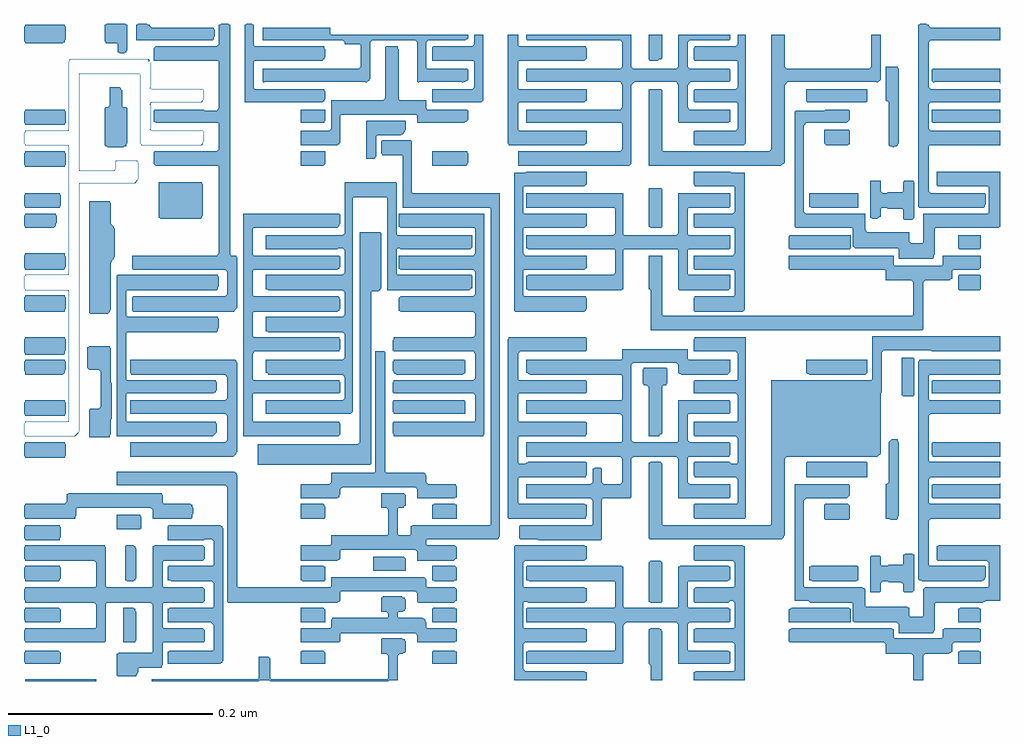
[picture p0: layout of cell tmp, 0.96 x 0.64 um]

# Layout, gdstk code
import gdstk
lib = gdstk.Library(unit=1e-6, precision=1e-09)
def R(c, l, rs):  # rectangles x0, y0, x1, y1
    for r in rs: c.add(gdstk.rectangle(r[:2], r[2:], *l))
def P(c, l, *ps):  # polygons
    for p in ps: c.add(gdstk.Polygon(p, *l))
L1_0 = (1, 0)

tmp = lib.new_cell('tmp')
R(tmp, L1_0, [(1.092,0.74,1.162,0.742)])
P(tmp, L1_0, [(2.008,0.77),(2.007,0.769),(2.006,0.769),(2.006,0.757),(2.028,0.757),(2.028,0.769),(2.027,0.769),(2.026,0.77)],
  [(1.492,0.77),(1.491,0.769),(1.491,0.757),(1.515,0.757),(1.515,0.769),(1.514,0.769),(1.513,0.77)],
  [(1.363,0.77),(1.362,0.769),(1.362,0.757),(1.386,0.757),(1.386,0.768),(1.384,0.77)],
  [(1.092,0.77),(1.092,0.769),(1.091,0.768),(1.091,0.759),(1.092,0.758),(1.092,0.757),(1.126,0.757),(1.126,0.758),(1.127,0.759),(1.127,0.768),(1.125,0.77)],
  [(1.442,0.782),(1.441,0.781),(1.441,0.767),(1.446,0.767),(1.448,0.765),(1.448,0.743),(1.447,0.742),(1.333,0.742),(1.332,0.743),(1.332,0.762),(1.33,0.764),(1.321,0.764),(1.321,0.743),(1.32,0.742),(1.216,0.742),(1.216,0.74),(1.321,0.74),(1.322,0.741),(1.331,0.741),(1.332,0.74),(1.448,0.74),(1.449,0.741),(1.457,0.741),(1.457,0.765),(1.459,0.767),(1.462,0.767),(1.463,0.768),(1.464,0.768),(1.465,0.769),(1.465,0.779),(1.464,0.78),(1.464,0.781),(1.462,0.781),(1.461,0.782)],
  [(1.843,0.792),(1.842,0.791),(1.841,0.791),(1.84,0.79),(1.84,0.779),(1.841,0.778),(1.933,0.778),(1.935,0.776),(1.935,0.767),(1.96,0.767),(1.962,0.765),(1.962,0.741),(1.972,0.741),(1.972,0.765),(1.974,0.767),(1.997,0.767),(1.998,0.768),(1.999,0.768),(2,0.769),(2,0.776),(2.002,0.778),(2.027,0.778),(2.028,0.779),(2.028,0.791),(2.027,0.791),(2.026,0.792),(1.993,0.792),(1.992,0.791),(1.991,0.791),(1.991,0.783),(1.99,0.782),(1.944,0.782),(1.943,0.783),(1.943,0.791),(1.942,0.791),(1.941,0.792)],
  [(1.705,0.792),(1.704,0.791),(1.703,0.791),(1.703,0.757),(1.705,0.755),(1.705,0.741),(1.716,0.741),(1.716,0.789),(1.715,0.79),(1.715,0.791),(1.714,0.791),(1.713,0.792)],
  [(2.008,0.812),(2.007,0.811),(2.006,0.811),(2.006,0.798),(2.028,0.798),(2.028,0.811),(2.027,0.811),(2.026,0.812)],
  [(1.843,0.812),(1.842,0.811),(1.841,0.811),(1.84,0.81),(1.84,0.798),(1.901,0.798),(1.901,0.811),(1.9,0.811),(1.899,0.812)],
  [(1.492,0.812),(1.491,0.811),(1.491,0.798),(1.515,0.798),(1.515,0.811),(1.514,0.811),(1.513,0.812)],
  [(1.362,0.812),(1.362,0.798),(1.386,0.798),(1.386,0.81),(1.384,0.812)],
  [(1.188,0.812),(1.188,0.778),(1.2,0.778),(1.2,0.779),(1.201,0.78),(1.201,0.808),(1.2,0.809),(1.2,0.811),(1.199,0.811),(1.198,0.812)],
  [(1.092,0.812),(1.092,0.811),(1.091,0.81),(1.091,0.8),(1.092,0.799),(1.092,0.798),(1.126,0.798),(1.127,0.799),(1.127,0.81),(1.125,0.812)],
  [(1.443,0.823),(1.442,0.822),(1.441,0.822),(1.441,0.808),(1.446,0.808),(1.448,0.806),(1.448,0.803),(1.447,0.802),(1.393,0.802),(1.393,0.801),(1.392,0.8),(1.392,0.793),(1.391,0.792),(1.362,0.792),(1.362,0.778),(1.4,0.778),(1.401,0.779),(1.401,0.786),(1.402,0.787),(1.474,0.787),(1.476,0.785),(1.476,0.778),(1.513,0.778),(1.514,0.779),(1.515,0.779),(1.515,0.791),(1.514,0.791),(1.513,0.792),(1.486,0.792),(1.485,0.793),(1.485,0.798),(1.484,0.799),(1.484,0.8),(1.483,0.801),(1.482,0.801),(1.481,0.802),(1.458,0.802),(1.457,0.803),(1.457,0.807),(1.458,0.808),(1.462,0.808),(1.463,0.809),(1.464,0.809),(1.464,0.81),(1.465,0.811),(1.465,0.82),(1.464,0.821),(1.464,0.822),(1.462,0.822),(1.461,0.823)],
  [(1.862,0.853),(1.861,0.852),(1.86,0.852),(1.86,0.839),(1.862,0.839),(1.863,0.838),(1.906,0.838),(1.907,0.839),(1.908,0.839),(1.908,0.852),(1.907,0.853)],
  [(1.584,0.853),(1.583,0.852),(1.583,0.839),(1.585,0.839),(1.586,0.838),(1.669,0.838),(1.67,0.837),(1.67,0.813),(1.669,0.812),(1.584,0.812),(1.583,0.811),(1.583,0.798),(1.668,0.798),(1.67,0.796),(1.67,0.771),(1.669,0.77),(1.585,0.77),(1.584,0.769),(1.583,0.769),(1.583,0.757),(1.677,0.757),(1.678,0.758),(1.678,0.795),(1.681,0.798),(1.73,0.798),(1.732,0.796),(1.732,0.757),(1.782,0.757),(1.783,0.758),(1.783,0.769),(1.782,0.769),(1.781,0.77),(1.742,0.77),(1.741,0.771),(1.741,0.796),(1.743,0.798),(1.782,0.798),(1.783,0.799),(1.783,0.811),(1.782,0.811),(1.781,0.812),(1.742,0.812),(1.741,0.813),(1.741,0.837),(1.742,0.838),(1.78,0.838),(1.781,0.839),(1.782,0.839),(1.783,0.84),(1.783,0.852),(1.782,0.852),(1.781,0.853),(1.734,0.853),(1.733,0.852),(1.732,0.852),(1.732,0.813),(1.731,0.812),(1.679,0.812),(1.678,0.813),(1.678,0.852),(1.677,0.852),(1.676,0.853)],
  [(1.491,0.853),(1.491,0.839),(1.492,0.839),(1.493,0.838),(1.512,0.838),(1.513,0.839),(1.515,0.839),(1.515,0.851),(1.513,0.853)],
  [(1.362,0.853),(1.362,0.839),(1.363,0.839),(1.364,0.838),(1.385,0.838),(1.386,0.839),(1.386,0.852),(1.385,0.852),(1.384,0.853)],
  [(1.092,0.853),(1.092,0.852),(1.091,0.851),(1.091,0.841),(1.092,0.84),(1.092,0.838),(1.125,0.838),(1.126,0.839),(1.126,0.84),(1.127,0.841),(1.127,0.851),(1.126,0.852),(1.126,0.853)],
  [(1.705,0.858),(1.703,0.856),(1.703,0.818),(1.704,0.818),(1.705,0.817),(1.715,0.817),(1.716,0.818),(1.716,0.856),(1.714,0.858)],
  [(1.433,0.862),(1.433,0.848),(1.465,0.848),(1.465,0.86),(1.463,0.862)],
  [(1.954,0.865),(1.953,0.864),(1.952,0.864),(1.952,0.855),(1.951,0.854),(1.938,0.854),(1.937,0.853),(1.931,0.853),(1.93,0.854),(1.93,0.862),(1.929,0.863),(1.921,0.863),(1.92,0.862),(1.92,0.827),(1.929,0.827),(1.93,0.828),(1.93,0.836),(1.932,0.838),(1.937,0.838),(1.938,0.837),(1.95,0.837),(1.952,0.835),(1.952,0.828),(1.953,0.827),(1.961,0.827),(1.963,0.829),(1.963,0.864),(1.962,0.864),(1.961,0.865)],
  [(1.748,0.873),(1.747,0.872),(1.747,0.859),(1.748,0.858),(1.785,0.858),(1.787,0.856),(1.787,0.833),(1.786,0.832),(1.749,0.832),(1.747,0.83),(1.747,0.818),(1.748,0.817),(1.781,0.817),(1.783,0.819),(1.785,0.819),(1.787,0.817),(1.787,0.793),(1.786,0.792),(1.749,0.792),(1.748,0.791),(1.747,0.791),(1.747,0.778),(1.785,0.778),(1.787,0.776),(1.787,0.751),(1.786,0.75),(1.749,0.75),(1.748,0.749),(1.747,0.749),(1.747,0.741),(1.797,0.741),(1.797,0.872),(1.796,0.872),(1.795,0.873)],
  [(1.572,0.873),(1.571,0.872),(1.571,0.741),(1.642,0.741),(1.642,0.749),(1.641,0.749),(1.64,0.75),(1.582,0.75),(1.58,0.752),(1.58,0.776),(1.582,0.778),(1.641,0.778),(1.642,0.779),(1.642,0.791),(1.641,0.791),(1.64,0.792),(1.581,0.792),(1.58,0.793),(1.58,0.817),(1.581,0.818),(1.584,0.818),(1.585,0.817),(1.64,0.817),(1.642,0.819),(1.642,0.831),(1.641,0.831),(1.64,0.832),(1.581,0.832),(1.58,0.833),(1.58,0.856),(1.582,0.858),(1.64,0.858),(1.642,0.86),(1.642,0.872),(1.641,0.872),(1.64,0.873)],
  [(1.191,0.873),(1.19,0.872),(1.19,0.839),(1.191,0.839),(1.192,0.838),(1.198,0.838),(1.199,0.839),(1.2,0.839),(1.2,0.84),(1.201,0.841),(1.201,0.87),(1.2,0.871),(1.2,0.872),(1.199,0.872),(1.198,0.873)],
  [(1.092,0.873),(1.092,0.872),(1.091,0.871),(1.091,0.86),(1.092,0.859),(1.092,0.858),(1.16,0.858),(1.162,0.856),(1.162,0.833),(1.161,0.832),(1.092,0.832),(1.092,0.831),(1.091,0.83),(1.091,0.82),(1.092,0.819),(1.092,0.817),(1.16,0.817),(1.162,0.815),(1.162,0.793),(1.161,0.792),(1.092,0.792),(1.092,0.791),(1.091,0.79),(1.091,0.78),(1.092,0.779),(1.092,0.778),(1.17,0.778),(1.171,0.779),(1.171,0.816),(1.172,0.817),(1.215,0.817),(1.217,0.815),(1.217,0.769),(1.216,0.768),(1.184,0.768),(1.183,0.767),(1.182,0.767),(1.182,0.746),(1.183,0.745),(1.201,0.745),(1.201,0.746),(1.202,0.747),(1.202,0.748),(1.203,0.749),(1.203,0.752),(1.204,0.753),(1.226,0.753),(1.226,0.755),(1.227,0.756),(1.227,0.777),(1.228,0.778),(1.267,0.778),(1.268,0.779),(1.268,0.79),(1.266,0.792),(1.228,0.792),(1.227,0.793),(1.227,0.816),(1.228,0.817),(1.266,0.817),(1.268,0.819),(1.268,0.83),(1.266,0.832),(1.228,0.832),(1.227,0.833),(1.227,0.857),(1.228,0.858),(1.266,0.858),(1.268,0.86),(1.268,0.871),(1.266,0.873),(1.219,0.873),(1.218,0.872),(1.217,0.872),(1.217,0.833),(1.216,0.832),(1.172,0.832),(1.171,0.833),(1.171,0.871),(1.17,0.872),(1.17,0.873)],
  [(1.233,0.893),(1.232,0.892),(1.232,0.878),(1.267,0.878),(1.268,0.879),(1.275,0.879),(1.277,0.877),(1.277,0.854),(1.276,0.853),(1.233,0.853),(1.232,0.852),(1.232,0.839),(1.234,0.839),(1.235,0.838),(1.275,0.838),(1.277,0.836),(1.277,0.813),(1.276,0.812),(1.234,0.812),(1.233,0.811),(1.232,0.811),(1.232,0.798),(1.274,0.798),(1.277,0.795),(1.277,0.771),(1.276,0.77),(1.234,0.77),(1.233,0.769),(1.232,0.769),(1.232,0.757),(1.283,0.757),(1.284,0.758),(1.285,0.758),(1.285,0.759),(1.286,0.76),(1.286,0.89),(1.285,0.891),(1.285,0.892),(1.284,0.892),(1.283,0.893)],
  [(1.092,0.893),(1.092,0.892),(1.091,0.891),(1.091,0.88),(1.092,0.879),(1.092,0.878),(1.126,0.878),(1.126,0.88),(1.127,0.881),(1.127,0.891),(1.126,0.892),(1.126,0.893)],
  [(1.182,0.903),(1.182,0.889),(1.205,0.889),(1.206,0.89),(1.206,0.901),(1.205,0.902),(1.205,0.903)],
  [(1.876,0.914),(1.875,0.913),(1.875,0.899),(1.876,0.898),(1.899,0.898),(1.9,0.899),(1.9,0.912),(1.898,0.914)],
  [(1.493,0.914),(1.492,0.913),(1.491,0.913),(1.491,0.899),(1.515,0.899),(1.515,0.913),(1.514,0.913),(1.513,0.914)],
  [(1.362,0.914),(1.362,0.899),(1.385,0.899),(1.386,0.9),(1.386,0.911),(1.385,0.912),(1.385,0.913),(1.384,0.914)],
  [(1.135,0.924),(1.134,0.923),(1.133,0.923),(1.133,0.916),(1.131,0.914),(1.092,0.914),(1.092,0.913),(1.091,0.912),(1.091,0.901),(1.092,0.9),(1.092,0.899),(1.141,0.899),(1.141,0.901),(1.142,0.902),(1.142,0.909),(1.143,0.91),(1.215,0.91),(1.217,0.908),(1.217,0.899),(1.255,0.899),(1.256,0.9),(1.256,0.903),(1.257,0.904),(1.257,0.91),(1.256,0.911),(1.256,0.913),(1.255,0.913),(1.254,0.914),(1.228,0.914),(1.227,0.915),(1.227,0.922),(1.226,0.923),(1.226,0.924)],
  [(1.846,0.933),(1.846,0.819),(1.859,0.819),(1.861,0.817),(1.902,0.817),(1.903,0.816),(1.903,0.799),(1.904,0.798),(1.946,0.798),(1.948,0.796),(1.948,0.787),(1.981,0.787),(1.982,0.788),(1.982,0.789),(1.983,0.79),(1.983,0.816),(1.984,0.817),(2.03,0.817),(2.031,0.818),(2.032,0.818),(2.033,0.819),(2.047,0.819),(2.047,0.873),(1.987,0.873),(1.986,0.872),(1.985,0.872),(1.985,0.859),(1.986,0.858),(2.034,0.858),(2.036,0.856),(2.036,0.833),(2.035,0.832),(1.974,0.832),(1.972,0.83),(1.972,0.804),(1.971,0.803),(1.959,0.803),(1.958,0.804),(1.958,0.812),(1.957,0.812),(1.956,0.813),(1.916,0.813),(1.915,0.814),(1.915,0.83),(1.914,0.831),(1.913,0.831),(1.912,0.832),(1.856,0.832),(1.855,0.833),(1.855,0.917),(1.857,0.919),(1.897,0.919),(1.9,0.922),(1.9,0.932),(1.899,0.933)],
  [(2.047,0.934),(2.046,0.933),(1.981,0.933),(1.98,0.932),(1.98,0.92),(1.981,0.919),(2.047,0.919)],
  [(1.182,0.945),(1.182,0.932),(1.288,0.932),(1.29,0.93),(1.29,0.818),(1.291,0.817),(1.398,0.817),(1.399,0.818),(1.4,0.818),(1.401,0.819),(1.401,0.827),(1.402,0.828),(1.474,0.828),(1.476,0.826),(1.476,0.818),(1.477,0.817),(1.512,0.817),(1.514,0.819),(1.515,0.819),(1.515,0.83),(1.513,0.832),(1.486,0.832),(1.485,0.833),(1.485,0.84),(1.483,0.842),(1.392,0.842),(1.392,0.833),(1.391,0.832),(1.301,0.832),(1.3,0.833),(1.3,0.942),(1.299,0.943),(1.299,0.944),(1.298,0.944),(1.297,0.945)],
  [(1.858,0.955),(1.857,0.954),(1.857,0.94),(1.917,0.94),(1.917,0.954),(1.916,0.955)],
  [(1.981,0.974),(1.98,0.973),(1.98,0.962),(1.981,0.961),(1.981,0.96),(2.047,0.96),(2.047,0.974)],
  [(1.092,0.974),(1.092,0.973),(1.091,0.972),(1.091,0.961),(1.092,0.96),(1.092,0.959),(1.131,0.959),(1.131,0.96),(1.132,0.961),(1.132,0.972),(1.131,0.973),(1.131,0.974)],
  [(1.941,0.977),(1.938,0.974),(1.938,0.935),(1.936,0.933),(1.935,0.933),(1.935,0.899),(1.939,0.899),(1.94,0.898),(1.946,0.898),(1.947,0.899),(1.947,0.901),(1.948,0.902),(1.948,0.974),(1.947,0.975),(1.947,0.977)],
  [(1.453,1.015),(1.452,1.014),(1.452,1.004),(1.453,1.003),(1.453,1.002),(1.523,1.002),(1.523,1.014),(1.522,1.015)],
  [(1.092,1.015),(1.092,1.014),(1.091,1.013),(1.091,1.002),(1.092,1.001),(1.092,1),(1.131,1),(1.131,1.001),(1.132,1.002),(1.132,1.013),(1.131,1.014),(1.131,1.015)],
  [(1.981,1.035),(1.98,1.034),(1.98,1.022),(2.047,1.022),(2.047,1.035)],
  [(1.698,1.047),(1.698,1.046),(1.697,1.045),(1.697,1.032),(1.698,1.031),(1.698,1.03),(1.701,1.03),(1.703,1.028),(1.703,0.98),(1.713,0.98),(1.713,0.981),(1.714,0.982),(1.715,0.982),(1.716,0.983),(1.716,1.029),(1.717,1.03),(1.72,1.03),(1.72,1.031),(1.721,1.032),(1.721,1.046),(1.72,1.047)],
  [(1.968,1.055),(1.968,1.054),(1.967,1.053),(1.967,0.84),(1.968,0.839),(1.97,0.839),(1.971,0.838),(2.029,0.838),(2.03,0.839),(2.031,0.839),(2.032,0.84),(2.032,0.841),(2.033,0.842),(2.033,0.852),(2.032,0.853),(1.978,0.853),(1.977,0.854),(1.977,0.897),(1.979,0.899),(2.047,0.899),(2.047,0.914),(1.978,0.914),(1.977,0.915),(1.977,0.938),(1.979,0.94),(2.047,0.94),(2.047,0.955),(1.978,0.955),(1.977,0.956),(1.977,1),(1.979,1.002),(2.047,1.002),(2.047,1.015),(1.978,1.015),(1.977,1.016),(1.977,1.039),(1.978,1.04),(2.047,1.04),(2.047,1.055)],
  [(1.857,1.055),(1.857,1.042),(1.858,1.041),(1.859,1.041),(1.86,1.04),(1.915,1.04),(1.917,1.042),(1.917,1.055)],
  [(1.453,1.055),(1.453,1.054),(1.452,1.053),(1.452,1.044),(1.453,1.043),(1.453,1.042),(1.454,1.041),(1.455,1.041),(1.456,1.04),(1.521,1.04),(1.523,1.042),(1.523,1.054),(1.522,1.055)],
  [(1.195,1.055),(1.195,1.042),(1.196,1.041),(1.196,1.04),(1.288,1.04),(1.29,1.038),(1.29,1.017),(1.288,1.015),(1.195,1.015),(1.195,1.002),(1.288,1.002),(1.29,1),(1.29,0.976),(1.288,0.974),(1.195,0.974),(1.195,0.96),(1.296,0.96),(1.299,0.963),(1.299,0.964),(1.3,0.965),(1.3,1.052),(1.299,1.053),(1.299,1.054),(1.298,1.055)],
  [(1.092,1.055),(1.092,1.054),(1.091,1.053),(1.091,1.044),(1.092,1.043),(1.092,1.04),(1.129,1.04),(1.131,1.042),(1.131,1.044),(1.132,1.045),(1.132,1.053),(1.131,1.054),(1.131,1.055)],
  [(1.951,1.057),(1.951,1.02),(1.952,1.019),(1.962,1.019),(1.963,1.02),(1.963,1.056),(1.962,1.057)],
  [(1.435,1.063),(1.435,0.945),(1.434,0.944),(1.392,0.944),(1.392,0.935),(1.39,0.933),(1.362,0.933),(1.362,0.919),(1.398,0.919),(1.399,0.92),(1.4,0.92),(1.4,0.922),(1.401,0.923),(1.401,0.928),(1.403,0.93),(1.474,0.93),(1.476,0.928),(1.476,0.919),(1.513,0.919),(1.514,0.92),(1.515,0.92),(1.515,0.931),(1.514,0.932),(1.514,0.933),(1.487,0.933),(1.485,0.935),(1.485,0.942),(1.483,0.944),(1.446,0.944),(1.445,0.945),(1.445,1.062),(1.444,1.063)],
  [(1.677,1.065),(1.677,1.056),(1.676,1.055),(1.583,1.055),(1.583,1.042),(1.584,1.042),(1.585,1.041),(1.586,1.041),(1.587,1.04),(1.676,1.04),(1.677,1.039),(1.677,1.016),(1.676,1.015),(1.583,1.015),(1.583,1.002),(1.675,1.002),(1.677,1),(1.677,0.975),(1.676,0.974),(1.583,0.974),(1.583,0.96),(1.675,0.96),(1.677,0.958),(1.677,0.935),(1.675,0.933),(1.659,0.933),(1.657,0.935),(1.657,0.948),(1.656,0.949),(1.65,0.949),(1.649,0.948),(1.648,0.948),(1.648,0.935),(1.646,0.933),(1.583,0.933),(1.583,0.919),(1.646,0.919),(1.648,0.917),(1.648,0.894),(1.647,0.893),(1.577,0.893),(1.576,0.892),(1.576,0.88),(1.577,0.879),(1.594,0.879),(1.595,0.878),(1.656,0.878),(1.657,0.879),(1.657,0.918),(1.658,0.919),(1.685,0.919),(1.686,0.92),(1.686,0.958),(1.688,0.96),(1.73,0.96),(1.732,0.958),(1.732,0.919),(1.782,0.919),(1.783,0.92),(1.783,0.933),(1.743,0.933),(1.741,0.935),(1.741,0.959),(1.742,0.96),(1.782,0.96),(1.782,0.961),(1.783,0.962),(1.783,0.973),(1.782,0.974),(1.743,0.974),(1.741,0.976),(1.741,1.001),(1.742,1.002),(1.782,1.002),(1.783,1.003),(1.783,1.014),(1.782,1.015),(1.732,1.015),(1.732,0.975),(1.731,0.974),(1.688,0.974),(1.686,0.976),(1.686,1.05),(1.688,1.052),(1.73,1.052),(1.732,1.05),(1.732,1.042),(1.733,1.041),(1.734,1.041),(1.735,1.04),(1.78,1.04),(1.783,1.043),(1.783,1.055),(1.742,1.055),(1.741,1.056),(1.741,1.065)],
  [(1.155,1.068),(1.154,1.067),(1.153,1.067),(1.153,1.047),(1.155,1.045),(1.164,1.045),(1.166,1.043),(1.166,1.009),(1.164,1.007),(1.156,1.007),(1.155,1.006),(1.155,0.979),(1.175,0.979),(1.175,0.981),(1.176,0.982),(1.176,0.996),(1.177,0.997),(1.177,1.032),(1.176,1.033),(1.176,1.066),(1.175,1.067),(1.175,1.068)],
  [(1.748,1.077),(1.748,1.076),(1.747,1.075),(1.747,1.063),(1.788,1.063),(1.79,1.061),(1.79,1.036),(1.789,1.035),(1.748,1.035),(1.747,1.034),(1.747,1.022),(1.788,1.022),(1.79,1.02),(1.79,0.995),(1.789,0.994),(1.747,0.994),(1.747,0.981),(1.748,0.98),(1.788,0.98),(1.79,0.978),(1.79,0.954),(1.789,0.953),(1.784,0.953),(1.782,0.955),(1.748,0.955),(1.747,0.954),(1.747,0.942),(1.748,0.941),(1.748,0.94),(1.788,0.94),(1.79,0.938),(1.79,0.915),(1.789,0.914),(1.748,0.914),(1.747,0.913),(1.747,0.9),(1.748,0.899),(1.797,0.899),(1.798,0.9),(1.798,1.077)],
  [(1.566,1.077),(1.566,1.076),(1.565,1.075),(1.565,0.9),(1.566,0.899),(1.641,0.899),(1.641,0.901),(1.642,0.902),(1.642,0.913),(1.641,0.913),(1.64,0.914),(1.576,0.914),(1.575,0.915),(1.575,0.939),(1.576,0.94),(1.641,0.94),(1.641,0.941),(1.642,0.942),(1.642,0.954),(1.641,0.955),(1.585,0.955),(1.584,0.954),(1.583,0.954),(1.582,0.953),(1.576,0.953),(1.575,0.954),(1.575,0.979),(1.576,0.98),(1.641,0.98),(1.641,0.981),(1.642,0.982),(1.642,0.993),(1.641,0.994),(1.576,0.994),(1.575,0.995),(1.575,1.021),(1.576,1.022),(1.641,1.022),(1.642,1.023),(1.642,1.034),(1.641,1.035),(1.576,1.035),(1.575,1.036),(1.575,1.061),(1.577,1.063),(1.641,1.063),(1.642,1.064),(1.642,1.076),(1.641,1.077)],
  [(1.092,1.077),(1.092,1.076),(1.091,1.075),(1.091,1.062),(1.092,1.061),(1.092,1.06),(1.13,1.06),(1.131,1.061),(1.131,1.063),(1.132,1.064),(1.132,1.075),(1.131,1.076),(1.131,1.077)],
  [(1.922,1.078),(1.922,1.036),(1.921,1.035),(1.823,1.035),(1.823,0.894),(1.822,0.893),(1.717,0.893),(1.716,0.894),(1.716,0.953),(1.714,0.955),(1.705,0.955),(1.704,0.954),(1.703,0.954),(1.703,0.88),(1.704,0.879),(1.833,0.879),(1.835,0.881),(1.835,0.882),(1.836,0.883),(1.836,0.958),(1.838,0.96),(1.927,0.96),(1.93,0.963),(1.93,1.022),(1.931,1.023),(1.931,1.062),(1.933,1.064),(1.979,1.064),(1.98,1.063),(2.047,1.063),(2.047,1.078)],
  [(1.092,1.118),(1.092,1.117),(1.091,1.116),(1.091,1.104),(1.092,1.103),(1.092,1.102),(1.131,1.102),(1.131,1.104),(1.132,1.105),(1.132,1.116),(1.131,1.117),(1.131,1.118)],
  [(2.007,1.138),(2.006,1.137),(2.006,1.124),(2.007,1.123),(2.027,1.123),(2.028,1.124),(2.028,1.137),(2.027,1.138)],
  [(1.183,1.138),(1.182,1.137),(1.182,0.98),(1.276,0.98),(1.28,0.984),(1.28,0.992),(1.279,0.993),(1.279,0.994),(1.192,0.994),(1.191,0.995),(1.191,1.021),(1.192,1.022),(1.277,1.022),(1.278,1.023),(1.279,1.023),(1.279,1.024),(1.28,1.025),(1.28,1.033),(1.279,1.034),(1.279,1.035),(1.192,1.035),(1.191,1.036),(1.191,1.081),(1.192,1.082),(1.28,1.082),(1.281,1.083),(1.281,1.085),(1.282,1.086),(1.282,1.095),(1.281,1.096),(1.281,1.097),(1.192,1.097),(1.191,1.098),(1.191,1.122),(1.192,1.123),(1.28,1.123),(1.281,1.124),(1.281,1.126),(1.282,1.127),(1.282,1.136),(1.281,1.137),(1.281,1.138)],
  [(1.703,1.157),(1.703,1.124),(1.704,1.124),(1.705,1.123),(1.705,1.084),(1.971,1.084),(1.972,1.085),(1.972,1.131),(1.974,1.133),(1.998,1.133),(1.999,1.134),(2,1.134),(2,1.142),(2.001,1.143),(2.026,1.143),(2.028,1.145),(2.028,1.157),(1.991,1.157),(1.991,1.148),(1.99,1.147),(1.944,1.147),(1.943,1.148),(1.943,1.157),(1.84,1.157),(1.84,1.144),(1.841,1.143),(1.934,1.143),(1.935,1.142),(1.935,1.133),(1.96,1.133),(1.962,1.131),(1.962,1.099),(1.961,1.098),(1.717,1.098),(1.716,1.099),(1.716,1.157)],
  [(1.092,1.159),(1.092,1.158),(1.091,1.157),(1.091,1.145),(1.092,1.144),(1.092,1.143),(1.13,1.143),(1.131,1.144),(1.131,1.145),(1.132,1.146),(1.132,1.156),(1.131,1.157),(1.131,1.159)],
  [(2.006,1.177),(2.006,1.164),(2.007,1.163),(2.027,1.163),(2.028,1.164),(2.028,1.177)],
  [(1.841,1.177),(1.84,1.176),(1.84,1.164),(1.841,1.163),(1.9,1.163),(1.901,1.164),(1.901,1.177)],
  [(1.42,1.18),(1.42,0.974),(1.418,0.972),(1.32,0.972),(1.32,0.952),(1.43,0.952),(1.431,0.953),(1.431,1.121),(1.432,1.122),(1.438,1.122),(1.439,1.123),(1.44,1.123),(1.44,1.124),(1.441,1.125),(1.441,1.179),(1.44,1.18)],
  [(1.458,1.198),(1.458,1.185),(1.459,1.185),(1.46,1.184),(1.532,1.184),(1.533,1.183),(1.533,1.159),(1.531,1.157),(1.458,1.157),(1.458,1.144),(1.459,1.144),(1.46,1.143),(1.531,1.143),(1.533,1.141),(1.533,1.119),(1.531,1.117),(1.46,1.117),(1.458,1.115),(1.458,1.103),(1.459,1.103),(1.46,1.102),(1.531,1.102),(1.533,1.1),(1.533,1.079),(1.531,1.077),(1.453,1.077),(1.453,1.075),(1.452,1.074),(1.452,1.064),(1.453,1.063),(1.531,1.063),(1.533,1.061),(1.533,1.037),(1.531,1.035),(1.453,1.035),(1.453,1.034),(1.452,1.033),(1.452,1.023),(1.453,1.022),(1.531,1.022),(1.533,1.02),(1.533,0.995),(1.532,0.994),(1.453,0.994),(1.452,0.993),(1.452,0.983),(1.453,0.982),(1.453,0.98),(1.541,0.98),(1.541,0.981),(1.542,0.982),(1.542,1.198)],
  [(1.306,1.198),(1.306,0.98),(1.399,0.98),(1.401,0.982),(1.401,0.992),(1.4,0.993),(1.4,0.994),(1.316,0.994),(1.315,0.995),(1.315,1.021),(1.316,1.022),(1.4,1.022),(1.401,1.023),(1.401,1.033),(1.4,1.034),(1.4,1.035),(1.316,1.035),(1.315,1.036),(1.315,1.061),(1.317,1.063),(1.4,1.063),(1.4,1.064),(1.401,1.065),(1.401,1.075),(1.4,1.076),(1.4,1.077),(1.316,1.077),(1.315,1.078),(1.315,1.101),(1.316,1.102),(1.398,1.102),(1.399,1.103),(1.4,1.103),(1.4,1.104),(1.401,1.105),(1.401,1.114),(1.4,1.115),(1.4,1.116),(1.399,1.117),(1.316,1.117),(1.315,1.118),(1.315,1.142),(1.316,1.143),(1.398,1.143),(1.399,1.144),(1.4,1.144),(1.4,1.145),(1.401,1.146),(1.401,1.156),(1.4,1.157),(1.316,1.157),(1.315,1.158),(1.315,1.183),(1.316,1.184),(1.398,1.184),(1.4,1.186),(1.4,1.187),(1.401,1.188),(1.401,1.197),(1.4,1.198)],
  [(1.092,1.198),(1.092,1.197),(1.091,1.196),(1.091,1.186),(1.092,1.185),(1.092,1.184),(1.12,1.184),(1.122,1.186),(1.122,1.188),(1.123,1.189),(1.123,1.196),(1.122,1.197),(1.122,1.198)],
  [(1.155,1.21),(1.155,1.101),(1.156,1.1),(1.173,1.1),(1.175,1.102),(1.175,1.103),(1.176,1.104),(1.176,1.15),(1.177,1.151),(1.177,1.152),(1.179,1.154),(1.179,1.155),(1.18,1.156),(1.18,1.183),(1.179,1.184),(1.179,1.185),(1.176,1.188),(1.176,1.208),(1.175,1.209),(1.175,1.21)],
  [(1.86,1.218),(1.86,1.205),(1.861,1.205),(1.862,1.204),(1.908,1.204),(1.908,1.218)],
  [(1.583,1.218),(1.583,1.204),(1.669,1.204),(1.67,1.203),(1.67,1.179),(1.668,1.177),(1.583,1.177),(1.583,1.164),(1.584,1.164),(1.585,1.163),(1.669,1.163),(1.67,1.162),(1.67,1.14),(1.668,1.138),(1.585,1.138),(1.584,1.137),(1.583,1.137),(1.583,1.124),(1.584,1.124),(1.585,1.123),(1.676,1.123),(1.677,1.124),(1.678,1.124),(1.678,1.162),(1.679,1.163),(1.731,1.163),(1.732,1.162),(1.732,1.124),(1.733,1.123),(1.781,1.123),(1.783,1.125),(1.783,1.138),(1.742,1.138),(1.741,1.139),(1.741,1.162),(1.742,1.163),(1.782,1.163),(1.783,1.164),(1.783,1.177),(1.742,1.177),(1.741,1.178),(1.741,1.203),(1.742,1.204),(1.782,1.204),(1.783,1.205),(1.783,1.218),(1.732,1.218),(1.732,1.179),(1.73,1.177),(1.679,1.177),(1.678,1.178),(1.678,1.218)],
  [(1.092,1.218),(1.092,1.217),(1.091,1.216),(1.091,1.206),(1.092,1.205),(1.092,1.204),(1.126,1.204),(1.126,1.205),(1.127,1.206),(1.127,1.216),(1.126,1.217),(1.126,1.218)],
  [(1.703,1.223),(1.703,1.185),(1.704,1.185),(1.705,1.184),(1.715,1.184),(1.716,1.185),(1.716,1.222),(1.715,1.223)],
  [(1.405,1.229),(1.405,1.179),(1.403,1.177),(1.328,1.177),(1.328,1.163),(1.398,1.163),(1.399,1.164),(1.403,1.164),(1.405,1.162),(1.405,1.14),(1.403,1.138),(1.328,1.138),(1.328,1.124),(1.329,1.124),(1.33,1.123),(1.403,1.123),(1.405,1.121),(1.405,1.099),(1.403,1.097),(1.328,1.097),(1.328,1.083),(1.329,1.083),(1.33,1.082),(1.403,1.082),(1.405,1.08),(1.405,1.057),(1.403,1.055),(1.328,1.055),(1.328,1.042),(1.329,1.042),(1.33,1.041),(1.33,1.04),(1.403,1.04),(1.405,1.038),(1.405,1.017),(1.403,1.015),(1.328,1.015),(1.328,1.002),(1.411,1.002),(1.413,1.004),(1.413,1.213),(1.414,1.214),(1.446,1.214),(1.447,1.213),(1.447,1.123),(1.527,1.123),(1.529,1.125),(1.53,1.125),(1.53,1.137),(1.529,1.138),(1.457,1.138),(1.456,1.139),(1.456,1.163),(1.457,1.164),(1.459,1.164),(1.46,1.163),(1.528,1.163),(1.53,1.165),(1.53,1.177),(1.457,1.177),(1.456,1.178),(1.456,1.228),(1.455,1.229)],
  [(1.223,1.229),(1.223,1.194),(1.224,1.194),(1.225,1.193),(1.264,1.193),(1.265,1.194),(1.265,1.195),(1.266,1.196),(1.266,1.227),(1.265,1.228),(1.265,1.229)],
  [(1.92,1.23),(1.92,1.194),(1.921,1.194),(1.922,1.193),(1.927,1.193),(1.929,1.195),(1.93,1.195),(1.93,1.203),(1.931,1.204),(1.936,1.204),(1.937,1.203),(1.951,1.203),(1.952,1.202),(1.952,1.193),(1.953,1.192),(1.961,1.192),(1.963,1.194),(1.963,1.229),(1.962,1.23),(1.953,1.23),(1.952,1.229),(1.952,1.22),(1.951,1.219),(1.937,1.219),(1.936,1.218),(1.932,1.218),(1.93,1.22),(1.93,1.23)],
  [(1.747,1.239),(1.747,1.227),(1.748,1.226),(1.748,1.225),(1.786,1.225),(1.787,1.224),(1.787,1.2),(1.785,1.198),(1.747,1.198),(1.747,1.185),(1.748,1.184),(1.786,1.184),(1.787,1.183),(1.787,1.159),(1.785,1.157),(1.747,1.157),(1.747,1.144),(1.748,1.143),(1.786,1.143),(1.787,1.142),(1.787,1.118),(1.786,1.117),(1.748,1.117),(1.748,1.116),(1.747,1.115),(1.747,1.103),(1.748,1.102),(1.795,1.102),(1.797,1.104),(1.797,1.238),(1.784,1.238),(1.783,1.239)],
  [(1.583,1.239),(1.582,1.238),(1.571,1.238),(1.571,1.103),(1.572,1.102),(1.64,1.102),(1.641,1.103),(1.641,1.104),(1.642,1.105),(1.642,1.115),(1.641,1.116),(1.641,1.117),(1.581,1.117),(1.58,1.118),(1.58,1.142),(1.581,1.143),(1.64,1.143),(1.642,1.145),(1.642,1.157),(1.582,1.157),(1.58,1.159),(1.58,1.183),(1.581,1.184),(1.64,1.184),(1.642,1.186),(1.642,1.198),(1.581,1.198),(1.58,1.199),(1.58,1.224),(1.581,1.225),(1.64,1.225),(1.642,1.227),(1.642,1.239)],
  [(1.491,1.259),(1.491,1.245),(1.524,1.245),(1.525,1.246),(1.525,1.247),(1.526,1.248),(1.526,1.257),(1.525,1.258),(1.525,1.259)],
  [(1.362,1.259),(1.362,1.245),(1.384,1.245),(1.386,1.247),(1.386,1.259)],
  [(1.092,1.259),(1.092,1.258),(1.091,1.257),(1.091,1.246),(1.092,1.245),(1.092,1.244),(1.131,1.244),(1.131,1.245),(1.132,1.246),(1.132,1.257),(1.131,1.258),(1.131,1.259)],
  [(1.442,1.27),(1.441,1.269),(1.441,1.257),(1.442,1.256),(1.442,1.255),(1.461,1.255),(1.462,1.254),(1.462,1.204),(1.547,1.204),(1.548,1.203),(1.548,0.894),(1.547,0.893),(1.472,0.893),(1.471,0.892),(1.47,0.892),(1.47,0.884),(1.469,0.883),(1.458,0.883),(1.457,0.884),(1.457,0.909),(1.458,0.91),(1.463,0.91),(1.463,0.911),(1.464,0.912),(1.465,0.912),(1.465,0.922),(1.463,0.924),(1.441,0.924),(1.441,0.91),(1.446,0.91),(1.448,0.908),(1.448,0.884),(1.447,0.883),(1.392,0.883),(1.392,0.874),(1.391,0.873),(1.362,0.873),(1.362,0.858),(1.398,0.858),(1.399,0.859),(1.4,0.859),(1.401,0.86),(1.401,0.868),(1.402,0.869),(1.474,0.869),(1.476,0.867),(1.476,0.858),(1.512,0.858),(1.514,0.86),(1.515,0.86),(1.515,0.871),(1.513,0.873),(1.486,0.873),(1.485,0.874),(1.485,0.878),(1.486,0.879),(1.555,0.879),(1.556,0.88),(1.556,0.881),(1.557,0.882),(1.557,1.218),(1.472,1.218),(1.471,1.219),(1.471,1.269),(1.47,1.27)],
  [(1.875,1.28),(1.875,1.267),(1.877,1.265),(1.898,1.265),(1.899,1.266),(1.9,1.266),(1.9,1.279),(1.899,1.28)],
  [(1.426,1.289),(1.426,1.252),(1.434,1.252),(1.436,1.254),(1.436,1.274),(1.437,1.275),(1.46,1.275),(1.461,1.276),(1.462,1.276),(1.464,1.278),(1.464,1.279),(1.465,1.28),(1.465,1.289)],
  [(1.98,1.3),(1.98,1.288),(1.981,1.287),(2.047,1.287),(2.047,1.3)],
  [(1.876,1.3),(1.875,1.299),(1.847,1.299),(1.846,1.298),(1.846,1.185),(1.847,1.184),(1.902,1.184),(1.903,1.183),(1.903,1.166),(1.905,1.164),(1.947,1.164),(1.948,1.163),(1.948,1.154),(1.981,1.154),(1.982,1.155),(1.982,1.157),(1.983,1.158),(1.983,1.183),(1.984,1.184),(2.046,1.184),(2.047,1.185),(2.047,1.239),(1.985,1.239),(1.985,1.226),(1.986,1.225),(2.035,1.225),(2.036,1.224),(2.036,1.199),(2.035,1.198),(1.972,1.198),(1.972,1.17),(1.971,1.169),(1.96,1.169),(1.958,1.171),(1.958,1.18),(1.917,1.18),(1.915,1.182),(1.915,1.198),(1.857,1.198),(1.855,1.2),(1.855,1.284),(1.856,1.285),(1.856,1.286),(1.857,1.287),(1.897,1.287),(1.9,1.29),(1.9,1.299),(1.899,1.3)],
  [(1.362,1.3),(1.362,1.287),(1.385,1.287),(1.385,1.288),(1.386,1.289),(1.386,1.3)],
  [(1.092,1.3),(1.092,1.299),(1.091,1.298),(1.091,1.287),(1.092,1.286),(1.092,1.285),(1.131,1.285),(1.131,1.286),(1.132,1.287),(1.132,1.298),(1.131,1.299),(1.131,1.3)],
  [(1.857,1.32),(1.857,1.308),(1.858,1.307),(1.916,1.307),(1.917,1.308),(1.917,1.32)],
  [(1.175,1.322),(1.175,1.304),(1.173,1.302),(1.171,1.302),(1.17,1.301),(1.17,1.265),(1.171,1.264),(1.172,1.264),(1.173,1.263),(1.188,1.263),(1.189,1.264),(1.191,1.264),(1.191,1.266),(1.192,1.267),(1.192,1.301),(1.191,1.302),(1.188,1.302),(1.187,1.303),(1.187,1.319),(1.186,1.32),(1.186,1.321),(1.185,1.322)],
  [(1.981,1.34),(1.98,1.339),(1.98,1.328),(1.982,1.326),(1.983,1.327),(2.046,1.327),(2.047,1.326),(2.047,1.325),(2.047,1.34)],
  [(1.935,1.342),(1.935,1.309),(1.936,1.308),(1.937,1.308),(1.938,1.307),(1.938,1.265),(1.939,1.264),(1.941,1.264),(1.942,1.263),(1.943,1.263),(1.944,1.264),(1.946,1.264),(1.947,1.265),(1.947,1.266),(1.948,1.267),(1.948,1.34),(1.947,1.341),(1.947,1.342)],
  [(1.136,1.349),(1.136,1.348),(1.135,1.347),(1.135,1.28),(1.134,1.279),(1.092,1.279),(1.092,1.278),(1.091,1.277),(1.091,1.267),(1.092,1.266),(1.092,1.265),(1.134,1.265),(1.135,1.264),(1.135,1.139),(1.134,1.138),(1.092,1.138),(1.092,1.137),(1.091,1.136),(1.091,1.125),(1.092,1.124),(1.092,1.123),(1.134,1.123),(1.135,1.122),(1.135,0.995),(1.134,0.994),(1.092,0.994),(1.092,0.993),(1.091,0.992),(1.091,0.982),(1.092,0.981),(1.092,0.98),(1.141,0.98),(1.144,0.983),(1.144,0.984),(1.145,0.985),(1.145,1.227),(1.146,1.228),(1.2,1.228),(1.202,1.23),(1.202,1.231),(1.203,1.232),(1.203,1.248),(1.202,1.249),(1.202,1.25),(1.181,1.25),(1.181,1.242),(1.179,1.24),(1.146,1.24),(1.145,1.241),(1.145,1.334),(1.146,1.335),(1.204,1.335),(1.205,1.334),(1.205,1.267),(1.206,1.266),(1.206,1.265),(1.265,1.265),(1.266,1.266),(1.266,1.268),(1.267,1.269),(1.267,1.278),(1.266,1.279),(1.216,1.279),(1.215,1.28),(1.215,1.306),(1.216,1.307),(1.265,1.307),(1.266,1.308),(1.266,1.309),(1.267,1.31),(1.267,1.319),(1.266,1.32),(1.216,1.32),(1.215,1.321),(1.215,1.346),(1.215,1.322),(1.214,1.321),(1.213,1.321),(1.215,1.321),(1.216,1.32),(1.266,1.32),(1.267,1.319),(1.267,1.31),(1.264,1.307),(1.215,1.307),(1.215,1.306),(1.214,1.305),(1.215,1.304),(1.215,1.281),(1.214,1.28),(1.213,1.28),(1.215,1.28),(1.216,1.279),(1.266,1.279),(1.267,1.278),(1.267,1.269),(1.266,1.268),(1.266,1.267),(1.264,1.265),(1.207,1.265),(1.205,1.267),(1.205,1.334),(1.204,1.335),(1.145,1.335),(1.145,1.24),(1.18,1.24),(1.18,1.241),(1.181,1.242),(1.181,1.249),(1.182,1.25),(1.201,1.25),(1.203,1.248),(1.203,1.232),(1.199,1.228),(1.145,1.228),(1.145,0.985),(1.14,0.98),(1.093,0.98),(1.091,0.982),(1.091,0.992),(1.093,0.994),(1.135,0.994),(1.135,1.123),(1.093,1.123),(1.091,1.125),(1.091,1.136),(1.093,1.138),(1.135,1.138),(1.135,1.265),(1.093,1.265),(1.091,1.267),(1.091,1.277),(1.093,1.279),(1.135,1.279),(1.135,1.347),(1.137,1.349),(1.212,1.349),(1.213,1.348),(1.213,1.347),(1.214,1.348),(1.213,1.349)],
  [(1.446,1.362),(1.445,1.361),(1.445,1.311),(1.443,1.309),(1.392,1.309),(1.392,1.281),(1.39,1.279),(1.362,1.279),(1.362,1.265),(1.398,1.265),(1.399,1.266),(1.4,1.266),(1.4,1.267),(1.401,1.268),(1.401,1.294),(1.402,1.295),(1.475,1.295),(1.476,1.294),(1.476,1.287),(1.522,1.287),(1.523,1.288),(1.524,1.288),(1.526,1.29),(1.526,1.299),(1.525,1.3),(1.486,1.3),(1.485,1.301),(1.485,1.309),(1.459,1.309),(1.458,1.31),(1.458,1.359),(1.457,1.36),(1.457,1.362)],
  [(1.823,1.373),(1.823,1.261),(1.821,1.259),(1.717,1.259),(1.716,1.26),(1.716,1.319),(1.715,1.32),(1.703,1.32),(1.703,1.245),(1.832,1.245),(1.834,1.247),(1.835,1.247),(1.836,1.248),(1.836,1.324),(1.839,1.327),(1.926,1.327),(1.927,1.326),(1.93,1.329),(1.93,1.373),(1.921,1.373),(1.921,1.342),(1.919,1.34),(1.838,1.34),(1.836,1.342),(1.836,1.373)],
  [(1.79,1.373),(1.79,1.364),(1.788,1.362),(1.748,1.362),(1.748,1.361),(1.747,1.36),(1.747,1.349),(1.748,1.348),(1.789,1.348),(1.79,1.347),(1.79,1.322),(1.788,1.32),(1.748,1.32),(1.747,1.319),(1.747,1.308),(1.748,1.307),(1.789,1.307),(1.79,1.306),(1.79,1.281),(1.788,1.279),(1.748,1.279),(1.747,1.278),(1.747,1.266),(1.748,1.265),(1.796,1.265),(1.798,1.267),(1.798,1.373)],
  [(1.703,1.373),(1.703,1.349),(1.704,1.348),(1.712,1.348),(1.713,1.349),(1.715,1.349),(1.716,1.35),(1.716,1.373)],
  [(1.583,1.373),(1.583,1.369),(1.584,1.368),(1.675,1.368),(1.677,1.366),(1.677,1.342),(1.675,1.34),(1.584,1.34),(1.583,1.339),(1.583,1.328),(1.584,1.327),(1.675,1.327),(1.676,1.326),(1.676,1.325),(1.677,1.324),(1.677,1.302),(1.675,1.3),(1.583,1.3),(1.583,1.287),(1.676,1.287),(1.677,1.286),(1.677,1.261),(1.675,1.259),(1.575,1.259),(1.575,1.245),(1.684,1.245),(1.686,1.247),(1.686,1.324),(1.689,1.327),(1.73,1.327),(1.731,1.326),(1.731,1.325),(1.732,1.324),(1.732,1.288),(1.733,1.287),(1.781,1.287),(1.782,1.288),(1.783,1.288),(1.783,1.3),(1.743,1.3),(1.741,1.302),(1.741,1.324),(1.744,1.327),(1.782,1.327),(1.783,1.328),(1.783,1.339),(1.782,1.34),(1.743,1.34),(1.741,1.342),(1.741,1.366),(1.743,1.368),(1.782,1.368),(1.783,1.369),(1.783,1.373),(1.732,1.373),(1.732,1.342),(1.73,1.34),(1.688,1.34),(1.686,1.342),(1.686,1.373)],
  [(1.565,1.373),(1.565,1.267),(1.566,1.266),(1.566,1.265),(1.64,1.265),(1.642,1.267),(1.642,1.279),(1.576,1.279),(1.575,1.28),(1.575,1.306),(1.576,1.307),(1.64,1.307),(1.642,1.309),(1.642,1.32),(1.576,1.32),(1.575,1.321),(1.575,1.347),(1.576,1.348),(1.64,1.348),(1.642,1.35),(1.642,1.36),(1.641,1.361),(1.641,1.362),(1.576,1.362),(1.575,1.363),(1.575,1.373)],
  [(1.532,1.373),(1.532,1.364),(1.53,1.362),(1.492,1.362),(1.491,1.361),(1.491,1.348),(1.531,1.348),(1.532,1.347),(1.532,1.322),(1.53,1.32),(1.491,1.32),(1.491,1.307),(1.539,1.307),(1.541,1.309),(1.541,1.373)],
  [(1.325,1.38),(1.325,1.368),(1.403,1.368),(1.405,1.366),(1.405,1.364),(1.42,1.364),(1.421,1.363),(1.421,1.342),(1.419,1.34),(1.325,1.34),(1.325,1.327),(1.326,1.326),(1.327,1.327),(1.425,1.327),(1.426,1.326),(1.428,1.328),(1.429,1.328),(1.429,1.329),(1.43,1.33),(1.43,1.366),(1.432,1.368),(1.474,1.368),(1.476,1.366),(1.476,1.327),(1.477,1.326),(1.478,1.327),(1.52,1.327),(1.521,1.326),(1.522,1.327),(1.523,1.327),(1.524,1.328),(1.525,1.328),(1.526,1.329),(1.526,1.339),(1.525,1.34),(1.486,1.34),(1.485,1.341),(1.485,1.366),(1.487,1.368),(1.523,1.368),(1.524,1.369),(1.525,1.369),(1.526,1.37),(1.526,1.373),(1.392,1.373),(1.391,1.374),(1.391,1.38)],
  [(1.092,1.383),(1.092,1.382),(1.091,1.381),(1.091,1.367),(1.092,1.366),(1.092,1.365),(1.129,1.365),(1.13,1.366),(1.131,1.366),(1.131,1.368),(1.132,1.369),(1.132,1.381),(1.131,1.382),(1.131,1.383)],
  [(1.969,1.384),(1.968,1.383),(1.967,1.383),(1.967,1.205),(1.968,1.204),(2.031,1.204),(2.032,1.205),(2.032,1.206),(2.033,1.207),(2.033,1.217),(2.032,1.218),(1.979,1.218),(1.977,1.22),(1.977,1.264),(1.978,1.265),(2.047,1.265),(2.047,1.279),(1.979,1.279),(1.977,1.281),(1.977,1.305),(1.979,1.307),(2.047,1.307),(2.047,1.32),(1.979,1.32),(1.977,1.322),(1.977,1.366),(1.979,1.368),(2.047,1.368),(2.047,1.38),(1.979,1.38),(1.977,1.382),(1.977,1.383),(1.976,1.383),(1.975,1.384)],
  [(1.309,1.384),(1.308,1.383),(1.307,1.383),(1.307,1.307),(1.383,1.307),(1.384,1.308),(1.385,1.308),(1.385,1.309),(1.386,1.31),(1.386,1.318),(1.385,1.319),(1.385,1.32),(1.317,1.32),(1.316,1.321),(1.316,1.347),(1.317,1.348),(1.383,1.348),(1.384,1.349),(1.385,1.349),(1.385,1.35),(1.386,1.351),(1.386,1.359),(1.385,1.36),(1.385,1.362),(1.317,1.362),(1.316,1.363),(1.316,1.383),(1.315,1.383),(1.314,1.384)],
  [(1.284,1.384),(1.283,1.383),(1.282,1.383),(1.282,1.364),(1.28,1.362),(1.22,1.362),(1.218,1.36),(1.218,1.348),(1.281,1.348),(1.282,1.347),(1.282,1.301),(1.28,1.299),(1.268,1.299),(1.267,1.3),(1.219,1.3),(1.218,1.299),(1.218,1.288),(1.219,1.288),(1.22,1.287),(1.281,1.287),(1.282,1.286),(1.282,1.261),(1.28,1.259),(1.219,1.259),(1.218,1.258),(1.218,1.247),(1.22,1.245),(1.281,1.245),(1.282,1.244),(1.282,1.159),(1.28,1.157),(1.197,1.157),(1.197,1.144),(1.198,1.143),(1.288,1.143),(1.29,1.141),(1.29,1.119),(1.288,1.117),(1.198,1.117),(1.197,1.116),(1.197,1.103),(1.198,1.102),(1.297,1.102),(1.297,1.103),(1.3,1.106),(1.3,1.155),(1.299,1.156),(1.299,1.157),(1.294,1.157),(1.293,1.158),(1.293,1.383),(1.292,1.383),(1.291,1.384)],
  [(1.203,1.384),(1.202,1.383),(1.201,1.383),(1.201,1.368),(1.276,1.368),(1.277,1.369),(1.277,1.371),(1.278,1.372),(1.278,1.378),(1.277,1.379),(1.277,1.38),(1.216,1.38),(1.214,1.382),(1.214,1.383),(1.212,1.383),(1.211,1.384)],
  [(1.172,1.384),(1.171,1.383),(1.17,1.383),(1.17,1.367),(1.171,1.366),(1.171,1.365),(1.182,1.365),(1.183,1.364),(1.183,1.356),(1.184,1.356),(1.185,1.355),(1.189,1.355),(1.19,1.356),(1.191,1.356),(1.191,1.357),(1.192,1.358),(1.192,1.383),(1.191,1.383),(1.19,1.384)])

lib.write_gds('tmp.gds')
